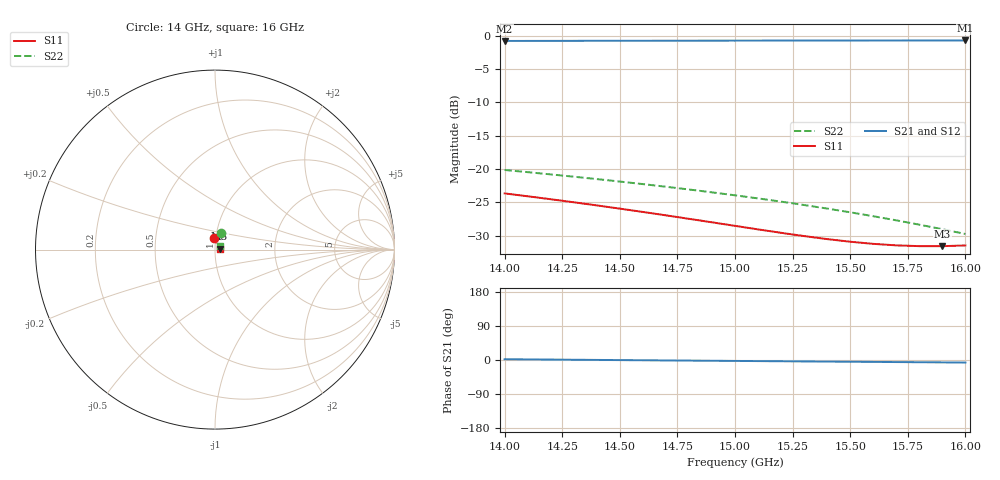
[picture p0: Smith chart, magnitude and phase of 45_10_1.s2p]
! Created Tue Dec 15 14:19:02 2020
# hz S ma R 50
! 2 Port Network Data from Sweep1.SP1.SP block
! freq  magS11  angS11  magS21  angS21  magS12  angS12  magS22  angS22
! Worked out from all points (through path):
!   21 points, 14 GHz to 16 GHz, reference 50 ohm
!   highest |S21| = -0.72 dB at 16 GHz (marker M1); lowest = -0.8 dB at 14 GHz (marker M2)
!   lowest |S11| = -31.6 dB at 15.9 GHz (marker M3), VSWR 1.05, Z = 52.6 + j0.605 ohm
!   |S11| at or under -10 dB: start of sweep to end of sweep
!   |S22| runs from -29.7 to -20.1 dB; largest |S21 - S12| = 0
1.4e10  0.06566 94.8  0.9131 2.0  0.9131 2.0  0.09841 68.4
1.41e10  0.0625 92.8  0.9138 1.6  0.9138 1.6  0.09479 67.7
1.42e10  0.0594 90.7  0.9144 1.1  0.9144 1.1  0.0912 66.9
1.43e10  0.05637 88.5  0.9149 0.7  0.9149 0.7  0.08764 66.1
1.44e10  0.0534 86.1  0.9155 0.2  0.9155 0.2  0.08411 65.2
1.45e10  0.05051 83.5  0.916 -0.2  0.916 -0.2  0.08061 64.3
1.46e10  0.0477 80.7  0.9165 -0.7  0.9165 -0.7  0.07713 63.4
1.47e10  0.04498 77.7  0.917 -1.1  0.917 -1.1  0.07369 62.4
1.48e10  0.04237 74.4  0.9174 -1.6  0.9174 -1.6  0.07028 61.4
1.49e10  0.03987 70.8  0.9178 -2.0  0.9178 -2.0  0.0669 60.3
1.5e10  0.03751 66.9  0.9182 -2.5  0.9182 -2.5  0.06356 59.1
1.51e10  0.0353 62.6  0.9186 -2.9  0.9186 -2.9  0.06025 57.8
1.52e10  0.03326 57.8  0.9189 -3.3  0.9189 -3.3  0.05697 56.5
1.53e10  0.03144 52.5  0.9193 -3.8  0.9193 -3.8  0.05374 55.0
1.54e10  0.02984 46.8  0.9196 -4.2  0.9196 -4.2  0.05055 53.4
1.55e10  0.02852 40.6  0.9199 -4.6  0.9199 -4.6  0.0474 51.6
1.56e10  0.02749 34.0  0.9201 -5.0  0.9201 -5.0  0.0443 49.6
1.57e10  0.02678 27.0  0.9204 -5.4  0.9204 -5.4  0.04127 47.4
1.58e10  0.02642 19.8  0.9206 -5.9  0.9206 -5.9  0.03829 45.0
1.59e10  0.02641 12.6  0.9208 -6.3  0.9208 -6.3  0.0354 42.2
1.6e10  0.02674 5.5  0.921 -6.7  0.921 -6.7  0.0326 38.9
